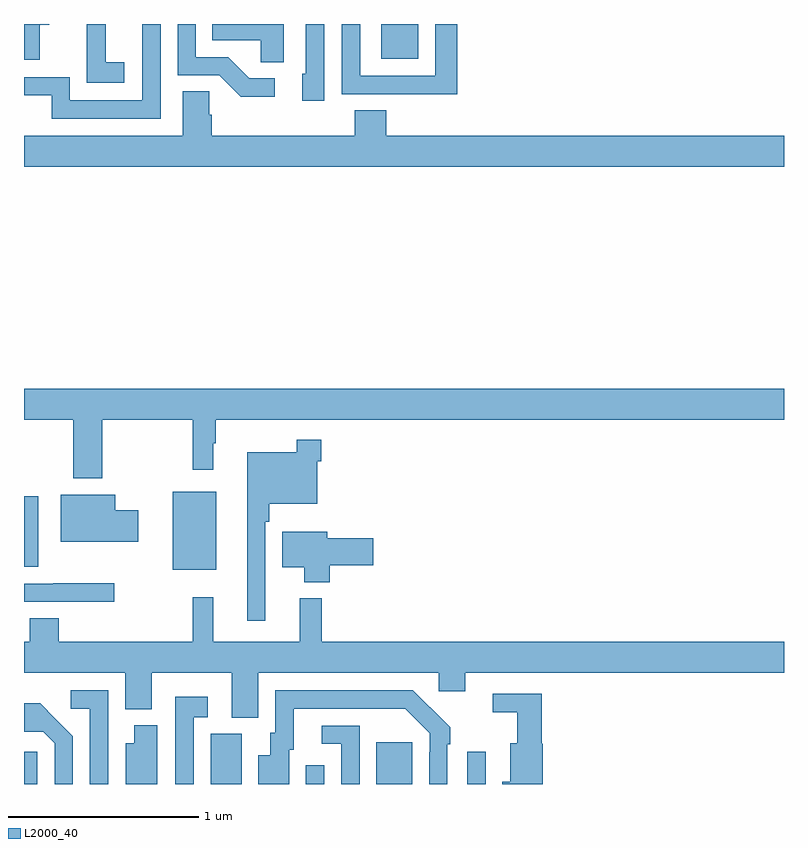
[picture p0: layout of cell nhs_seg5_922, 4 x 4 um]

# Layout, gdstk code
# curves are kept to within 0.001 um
import gdstk
lib = gdstk.Library(unit=1e-6, precision=1e-09)
def R(c, l, rs):  # rectangles x0, y0, x1, y1
    for r in rs: c.add(gdstk.rectangle(r[:2], r[2:], *l))
def P(c, l, *ps):  # polygons
    for p in ps: c.add(gdstk.Polygon(p, *l))
L2000_40 = (2000, 40)

nhs_seg5_922 = lib.new_cell('nhs_seg5_922')
R(nhs_seg5_922, L2000_40, [(169,898.799,169.071,898.969), (169.982,898.799,170.146,899.064), (170.484,898.799,170.58,898.897), (170.855,898.799,171.043,899.02), (171.333,898.799,171.429,898.969), (169.784,899.927,170.011,900.337), (169,899.942,169.075,900.313), (170.879,902.615,171.076,902.799)])
P(nhs_seg5_922, L2000_40, [(169.528,902.599),(169.43,902.599),(169.43,902.799),(169.331,902.799),(169.331,902.695),(169.33,902.695),(169.33,902.489),(169.528,902.489)],
  [(169.083,902.795),(169.132,902.795),(169.132,902.799),(169,902.799),(169,902.61),(169.083,902.61)],
  [(171.281,902.799),(171.165,902.799),(171.165,902.526),(170.769,902.526),(170.769,902.799),(170.673,902.799),(170.673,902.43),(170.989,902.43),(170.989,902.429),(171.281,902.429)],
  [(169.719,902.799),(169.623,902.799),(169.623,902.397),(169.242,902.397),(169.242,902.52),(169,902.52),(169,902.424),(169.145,902.424),(169.145,902.301),(169.719,902.301)],
  [(170.368,902.799),(169.99,902.799),(169.99,902.714),(170.247,902.714),(170.247,902.599),(170.368,902.599)],
  [(170.58,902.799),(170.484,902.799),(170.484,902.538),(170.465,902.538),(170.465,902.394),(170.58,902.394)],
  [(170.32,902.514),(170.185,902.514),(170.074,902.625),(169.905,902.625),(169.905,902.799),(169.809,902.799),(169.809,902.529),(170.028,902.529),(170.141,902.417),(170.32,902.417)],
  [(173,902.212),(170.906,902.212),(170.906,902.345),(170.741,902.345),(170.741,902.212),(169.988,902.212),(169.988,902.321),(169.974,902.321),(169.974,902.444),(169.835,902.444),(169.835,902.212),(169,902.212),(169,902.048),(173,902.048)],
  [(169.413,900.716),(169.887,900.716),(169.887,900.453),(169.996,900.453),(169.996,900.593),(170.008,900.593),(170.008,900.716),(173,900.716),(173,900.88),(169,900.88),(169,900.716),(169.258,900.716),(169.258,900.407),(169.413,900.407)],
  [(170.271,900.179),(170.291,900.179),(170.291,900.275),(170.544,900.275),(170.544,900.497),(170.564,900.497),(170.564,900.61),(170.436,900.61),(170.436,900.544),(170.174,900.544),(170.174,899.658),(170.271,899.658)],
  [(169.6,900.24),(169.48,900.24),(169.48,900.322),(169.193,900.322),(169.193,900.074),(169.6,900.074)],
  [(170.609,899.95),(170.839,899.95),(170.839,900.092),(170.596,900.092),(170.596,900.127),(170.36,900.127),(170.36,899.939),(170.474,899.939),(170.474,899.861),(170.609,899.861)],
  [(169.474,899.856),(169.153,899.856),(169.153,899.853),(169,899.853),(169,899.757),(169.474,899.757)],
  [(170.233,899.384),(171.183,899.384),(171.183,899.286),(171.322,899.286),(171.322,899.384),(173,899.384),(173,899.548),(170.567,899.548),(170.567,899.776),(170.45,899.776),(170.45,899.548),(169.997,899.548),(169.997,899.782),(169.887,899.782),(169.887,899.548),(169.184,899.548),(169.184,899.672),(169.031,899.672),(169.031,899.548),(169,899.548),(169,899.384),(169.532,899.384),(169.532,899.192),(169.672,899.192),(169.672,899.384),(170.093,899.384),(170.093,899.149),(170.233,899.149)],
  [(169.443,899.292),(169.245,899.292),(169.245,899.196),(169.347,899.196),(169.347,898.799),(169.443,898.799)],
  [(170.395,898.98),(170.419,898.98),(170.419,899.196),(171.007,899.196),(171.135,899.067),(171.135,898.967),(171.132,898.967),(171.132,898.799),(171.228,898.799),(171.228,899.009),(171.243,899.009),(171.243,899.097),(171.046,899.292),(170.322,899.292),(170.322,899.07),(170.297,899.07),(170.297,898.951),(170.234,898.951),(170.234,898.799),(170.395,898.799)],
  [(171.731,899.01),(171.725,899.01),(171.725,899.274),(171.468,899.274),(171.468,899.177),(171.597,899.177),(171.597,899.014),(171.56,899.014),(171.56,898.81),(171.518,898.81),(171.518,898.799),(171.731,898.799)],
  [(169.893,899.151),(169.966,899.151),(169.966,899.257),(169.797,899.257),(169.797,898.799),(169.893,898.799)],
  [(169.257,899.05),(169.165,899.143),(169.085,899.224),(169,899.224),(169,899.073),(169.101,899.073),(169.161,899.013),(169.161,898.799),(169.257,898.799)],
  [(169.702,899.107),(169.58,899.107),(169.58,899.014),(169.535,899.014),(169.535,898.799),(169.702,898.799)],
  [(170.766,899.106),(170.568,899.106),(170.568,899.01),(170.67,899.01),(170.67,898.799),(170.766,898.799)])

lib.write_gds('nhs_seg5_922.gds')
